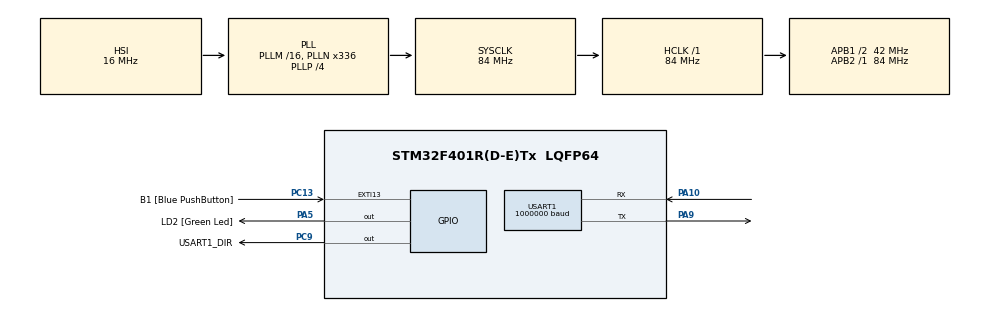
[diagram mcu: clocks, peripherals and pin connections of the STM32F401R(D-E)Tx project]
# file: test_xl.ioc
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Mcu.Family=STM32F4
Mcu.Name=STM32F401R(D-E)Tx
Mcu.Package=LQFP64
NVIC.PriorityGroup=NVIC_PRIORITYGROUP_0
NVIC.USART1_IRQn=true\:0\:0\:false\:false\:true\:true
PA10.Mode=Asynchronous
PA10.Signal=USART1_RX
PA13.GPIO_Label=TMS
PA13.Signal=SYS_JTMS-SWDIO
PA14.GPIO_Label=TCK
PA14.Signal=SYS_JTCK-SWCLK
PA2.GPIO_Label=USART_TX
PA2.GPIO_Mode=GPIO_MODE_AF_PP
PA2.GPIO_PuPd=GPIO_NOPULL
PA2.GPIO_Speed=GPIO_SPEED_FREQ_LOW
PA2.Signal=USART2_TX
PA3.GPIO_Label=USART_RX
PA3.GPIO_Mode=GPIO_MODE_AF_PP
PA3.GPIO_PuPd=GPIO_NOPULL
PA3.GPIO_Speed=GPIO_SPEED_FREQ_LOW
PA3.Signal=USART2_RX
PA5.GPIO_Label=LD2 [Green Led]
PA5.GPIO_Mode=GPIO_MODE_OUTPUT_PP
PA5.GPIO_PuPd=GPIO_NOPULL
PA5.GPIO_Speed=GPIO_SPEED_FREQ_LOW
PA5.Signal=GPIO_Output
PA9.Mode=Asynchronous
PA9.Signal=USART1_TX
PB3.GPIO_Label=SWO
PB3.Signal=SYS_JTDO-SWO
PC13-ANTI_TAMP.GPIO_Label=B1 [Blue PushButton]
PC13-ANTI_TAMP.GPIO_ModeDefaultEXTI=GPIO_MODE_IT_FALLING
PC13-ANTI_TAMP.GPIO_PuPd=GPIO_NOPULL
PC13-ANTI_TAMP.Signal=GPXTI13
PC14-OSC32_IN.Signal=RCC_OSC32_IN
PC15-OSC32_OUT.Signal=RCC_OSC32_OUT
PC9.GPIO_Label=USART1_DIR
PC9.Signal=GPIO_Output
PH0\ -\ OSC_IN.Signal=RCC_OSC_IN
PH1\ -\ OSC_OUT.Signal=RCC_OSC_OUT
ProjectManager.HeapSize=0x200
ProjectManager.StackSize=0x400
ProjectManager.TargetToolchain=Makefile
RCC.AHBFreq_Value=84000000
RCC.APB1CLKDivider=RCC_HCLK_DIV2
RCC.APB1Freq_Value=42000000
RCC.APB1TimFreq_Value=84000000
RCC.APB2Freq_Value=84000000
RCC.APB2TimFreq_Value=84000000
RCC.CortexFreq_Value=84000000
RCC.HCLKFreq_Value=84000000
RCC.HSE_VALUE=8000000
RCC.HSI_VALUE=16000000
RCC.LSE_VALUE=32768
RCC.PLLN=336
RCC.PLLP=RCC_PLLP_DIV4
RCC.PLLQ=7
RCC.SYSCLKFreq_VALUE=84000000
RCC.SYSCLKSource=RCC_SYSCLKSOURCE_PLLCLK
RCC.VCOOutputFreq_Value=336000000
USART1.BaudRate=1000000
USART1.Parity=PARITY_NONE
USART1.VirtualMode=VM_ASYNC
board=NUCLEO-F401RE

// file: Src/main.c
/**
  ******************************************************************************
  * File Name          : main.c
  * Description        : Main program body
  ******************************************************************************
  ** This notice applies to any and all portions of this file
  * that are not between comment pairs USER CODE BEGIN and
  * USER CODE END. Other portions of this file, whether
  * inserted by the user or by software development tools
  * are owned by their respective copyright owners.
  *
  * COPYRIGHT(c) 2018 STMicroelectronics
  *
  * Redistribution and use in source and binary forms, with or without modification,
  * are permitted provided that the following conditions are met:
  *   1. Redistributions of source code must retain the above copyright notice,
  *      this list of conditions and the following disclaimer.
  *   2. Redistributions in binary form must reproduce the above copyright notice,
  *      this list of conditions and the following disclaimer in the documentation
  *      and/or other materials provided with the distribution.
  *   3. Neither the name of STMicroelectronics nor the names of its contributors
  *      may be used to endorse or promote products derived from this software
  *      without specific prior written permission.
  *
  * THIS SOFTWARE IS PROVIDED BY THE COPYRIGHT HOLDERS AND CONTRIBUTORS "AS IS"
  * AND ANY EXPRESS OR IMPLIED WARRANTIES, INCLUDING, BUT NOT LIMITED TO, THE
  * IMPLIED WARRANTIES OF MERCHANTABILITY AND FITNESS FOR A PARTICULAR PURPOSE ARE
  * DISCLAIMED. IN NO EVENT SHALL THE COPYRIGHT HOLDER OR CONTRIBUTORS BE LIABLE
  * FOR ANY DIRECT, INDIRECT, INCIDENTAL, SPECIAL, EXEMPLARY, OR CONSEQUENTIAL
  * DAMAGES (INCLUDING, BUT NOT LIMITED TO, PROCUREMENT OF SUBSTITUTE GOODS OR
  * SERVICES; LOSS OF USE, DATA, OR PROFITS; OR BUSINESS INTERRUPTION) HOWEVER
  * CAUSED AND ON ANY THEORY OF LIABILITY, WHETHER IN CONTRACT, STRICT LIABILITY,
  * OR TORT (INCLUDING NEGLIGENCE OR OTHERWISE) ARISING IN ANY WAY OUT OF THE USE
  * OF THIS SOFTWARE, EVEN IF ADVISED OF THE POSSIBILITY OF SUCH DAMAGE.
  *
  ******************************************************************************
  */

#include "main.h"
#include "stm32f4xx_hal.h"

/* USER CODE BEGIN Includes */
#include "xl_320.h"
#include "mbed.h"
/* USER CODE END Includes */

UART_HandleTypeDef huart1;

/* USER CODE BEGIN PV */
/* Private variables ---------------------------------------------------------*/
#define CONFIG 0
/* USER CODE END PV */

void SystemClock_Config(void);
static void MX_GPIO_Init(void);
static void MX_USART1_UART_Init(void);

/* USER CODE BEGIN PFP */
/* Private function prototypes -----------------------------------------------*/

/* USER CODE END PFP */

/* USER CODE BEGIN 0 */
XL_Interface interface;

uint8_t XL_320_Send_HAL(uint8_t *data, uint16_t size, uint32_t timeout){
  HAL_StatusTypeDef status = HAL_UART_Transmit(&huart1, data, size, timeout);
  return (status==HAL_OK)?0:1;
}

void XL_320_Set_Direction_HAL(XL_Direction dir){
  HAL_GPIO_WritePin(USART1_DIR_GPIO_Port, USART1_DIR_Pin, (dir==XL_SEND)?GPIO_PIN_SET:GPIO_PIN_RESET);
}

uint8_t XL_320_Receive_HAL(uint8_t *buffer, uint16_t size, uint32_t timeout){
  HAL_StatusTypeDef status = HAL_UART_Receive(&huart1, buffer, size, timeout);
  return (status==HAL_OK)?0:1;
}

void XL_320_Delay_HAL(uint32_t t){
  HAL_Delay(t);
}
/* USER CODE END 0 */

int main(void)
{

  /* MCU Configuration----------------------------------------------------------*/

  /* Reset of all peripherals, Initializes the Flash interface and the Systick. */
  HAL_Init();

  /* Configure the system clock */
  SystemClock_Config();

  /* Initialize all configured peripherals */
  MX_GPIO_Init();
  MX_USART1_UART_Init();

  /* USER CODE BEGIN 2 */

  interface.send = XL_320_Send_HAL;
  interface.set_direction = XL_320_Set_Direction_HAL;
  interface.receive = XL_320_Receive_HAL;
  interface.delay = XL_320_Delay_HAL;

  HAL_Delay(1000);

  XL broadcast = (XL) {.interface = &interface, .id = XL_BROADCAST};

  XL servo;
  uint16_t nb_servos = 0;
  uint16_t positionGet;
  uint16_t positionSet = 0;

  XL_Discover(&interface, servo, 1, &nb_servos);
  #if CONFIG==1
    XL_Configure_ID(&servo[0],3);
  #endif
  XL_Say_Hello(&servo);

  HAL_Delay(1000);

  uint16_t data;
  XL_Power_On(&broadcast, XL_NOW);
  /* USER CODE END 2 */

  /* Infinite loop */
  /* USER CODE BEGIN WHILE */
  while (1)
  {&
  /* USER CODE BEGIN 3 */

  HAL_Delay(1000);
  XL_Set_Goal_Position(servo, positionSet, XL_NOW);
  XL_Get_Current_Position(servo, &positionGet);

  /* USER CODE END 3 */
  }
  /* USER CODE END WHILE */
}

/** System Clock Configuration
*/
void SystemClock_Config(void)
{

  RCC_OscInitTypeDef RCC_OscInitStruct;
  RCC_ClkInitTypeDef RCC_ClkInitStruct;

    /**Configure the main internal regulator output voltage
    */
  __HAL_RCC_PWR_CLK_ENABLE();

  __HAL_PWR_VOLTAGESCALING_CONFIG(PWR_REGULATOR_VOLTAGE_SCALE2);

    /**Initializes the CPU, AHB and APB busses clocks
    */
  RCC_OscInitStruct.OscillatorType = RCC_OSCILLATORTYPE_HSI;
  RCC_OscInitStruct.HSIState = RCC_HSI_ON;
  RCC_OscInitStruct.HSICalibrationValue = 16;
  RCC_OscInitStruct.PLL.PLLState = RCC_PLL_ON;
  RCC_OscInitStruct.PLL.PLLSource = RCC_PLLSOURCE_HSI;
  RCC_OscInitStruct.PLL.PLLM = 16;
  RCC_OscInitStruct.PLL.PLLN = 336;
  RCC_OscInitStruct.PLL.PLLP = RCC_PLLP_DIV4;
  RCC_OscInitStruct.PLL.PLLQ = 7;
  if (HAL_RCC_OscConfig(&RCC_OscInitStruct) != HAL_OK)
  {
    _Error_Handler(__FILE__, __LINE__);
  }

    /**Initializes the CPU, AHB and APB busses clocks
    */
  RCC_ClkInitStruct.ClockType = RCC_CLOCKTYPE_HCLK|RCC_CLOCKTYPE_SYSCLK
                              |RCC_CLOCKTYPE_PCLK1|RCC_CLOCKTYPE_PCLK2;
  RCC_ClkInitStruct.SYSCLKSource = RCC_SYSCLKSOURCE_PLLCLK;
  RCC_ClkInitStruct.AHBCLKDivider = RCC_SYSCLK_DIV1;
  RCC_ClkInitStruct.APB1CLKDivider = RCC_HCLK_DIV2;
  RCC_ClkInitStruct.APB2CLKDivider = RCC_HCLK_DIV1;

  if (HAL_RCC_ClockConfig(&RCC_ClkInitStruct, FLASH_LATENCY_2) != HAL_OK)
  {
    _Error_Handler(__FILE__, __LINE__);
  }

    /**Configure the Systick interrupt time
    */
  HAL_SYSTICK_Config(HAL_RCC_GetHCLKFreq()/1000);

    /**Configure the Systick
    */
  HAL_SYSTICK_CLKSourceConfig(SYSTICK_CLKSOURCE_HCLK);

  /* SysTick_IRQn interrupt configuration */
  HAL_NVIC_SetPriority(SysTick_IRQn, 0, 0);
}

/* USART1 init function */
static void MX_USART1_UART_Init(void)
{

  huart1.Instance = USART1;
  huart1.Init.BaudRate = 1000000;
  huart1.Init.WordLength = UART_WORDLENGTH_8B;
  huart1.Init.StopBits = UART_STOPBITS_1;
  huart1.Init.Parity = UART_PARITY_NONE;
  huart1.Init.Mode = UART_MODE_TX_RX;
  huart1.Init.HwFlowCtl = UART_HWCONTROL_NONE;
  huart1.Init.OverSampling = UART_OVERSAMPLING_16;
  if (HAL_UART_Init(&huart1) != HAL_OK)
  {
    _Error_Handler(__FILE__, __LINE__);
  }

}

/** Configure pins as
        * Analog
        * Input
        * Output
        * EVENT_OUT
        * EXTI
        * Free pins are configured automatically as Analog (this feature is enabled through
        * the Code Generation settings)
     PA2   ------> USART2_TX
     PA3   ------> USART2_RX
*/
static void MX_GPIO_Init(void)
{

  GPIO_InitTypeDef GPIO_InitStruct;

  /* GPIO Ports Clock Enable */
  __HAL_RCC_GPIOC_CLK_ENABLE();
  __HAL_RCC_GPIOH_CLK_ENABLE();
  __HAL_RCC_GPIOA_CLK_ENABLE();
  __HAL_RCC_GPIOB_CLK_ENABLE();
  __HAL_RCC_GPIOD_CLK_ENABLE();

  /*Configure GPIO pin Output Level */
  HAL_GPIO_WritePin(LD2_GPIO_Port, LD2_Pin, GPIO_PIN_RESET);

  /*Configure GPIO pin Output Level */
  HAL_GPIO_WritePin(USART1_DIR_GPIO_Port, USART1_DIR_Pin, GPIO_PIN_RESET);

  /*Configure GPIO pin : B1_Pin */
  GPIO_InitStruct.Pin = B1_Pin;
  GPIO_InitStruct.Mode = GPIO_MODE_IT_FALLING;
  GPIO_InitStruct.Pull = GPIO_NOPULL;
  HAL_GPIO_Init(B1_GPIO_Port, &GPIO_InitStruct);

  /*Configure GPIO pins : PC0 PC1 PC2 PC3
                           PC4 PC5 PC6 PC7
                           PC8 PC10 PC11 PC12 */
  GPIO_InitStruct.Pin = GPIO_PIN_0|GPIO_PIN_1|GPIO_PIN_2|GPIO_PIN_3
                          |GPIO_PIN_4|GPIO_PIN_5|GPIO_PIN_6|GPIO_PIN_7
                          |GPIO_PIN_8|GPIO_PIN_10|GPIO_PIN_11|GPIO_PIN_12;
  GPIO_InitStruct.Mode = GPIO_MODE_ANALOG;
  GPIO_InitStruct.Pull = GPIO_NOPULL;
  HAL_GPIO_Init(GPIOC, &GPIO_InitStruct);

  /*Configure GPIO pins : PA0 PA1 PA4 PA6
                           PA7 PA8 PA11 PA12
                           PA15 */
  GPIO_InitStruct.Pin = GPIO_PIN_0|GPIO_PIN_1|GPIO_PIN_4|GPIO_PIN_6
                          |GPIO_PIN_7|GPIO_PIN_8|GPIO_PIN_11|GPIO_PIN_12
                          |GPIO_PIN_15;
  GPIO_InitStruct.Mode = GPIO_MODE_ANALOG;
  GPIO_InitStruct.Pull = GPIO_NOPULL;
  HAL_GPIO_Init(GPIOA, &GPIO_InitStruct);

  /*Configure GPIO pins : USART_TX_Pin USART_RX_Pin */
  GPIO_InitStruct.Pin = USART_TX_Pin|USART_RX_Pin;
  GPIO_InitStruct.Mode = GPIO_MODE_AF_PP;
  GPIO_InitStruct.Pull = GPIO_NOPULL;
  GPIO_InitStruct.Speed = GPIO_SPEED_FREQ_LOW;
  GPIO_InitStruct.Alternate = GPIO_AF7_USART2;
  HAL_GPIO_Init(GPIOA, &GPIO_InitStruct);

  /*Configure GPIO pin : LD2_Pin */
  GPIO_InitStruct.Pin = LD2_Pin;
  GPIO_InitStruct.Mode = GPIO_MODE_OUTPUT_PP;
  GPIO_InitStruct.Pull = GPIO_NOPULL;
  GPIO_InitStruct.Speed = GPIO_SPEED_FREQ_LOW;
  HAL_GPIO_Init(LD2_GPIO_Port, &GPIO_InitStruct);

  /*Configure GPIO pins : PB0 PB1 PB2 PB10
                           PB12 PB13 PB14 PB15
                           PB4 PB5 PB6 PB7
                           PB8 PB9 */
  GPIO_InitStruct.Pin = GPIO_PIN_0|GPIO_PIN_1|GPIO_PIN_2|GPIO_PIN_10
                          |GPIO_PIN_12|GPIO_PIN_13|GPIO_PIN_14|GPIO_PIN_15
                          |GPIO_PIN_4|GPIO_PIN_5|GPIO_PIN_6|GPIO_PIN_7
                          |GPIO_PIN_8|GPIO_PIN_9;
  GPIO_InitStruct.Mode = GPIO_MODE_ANALOG;
  GPIO_InitStruct.Pull = GPIO_NOPULL;
  HAL_GPIO_Init(GPIOB, &GPIO_InitStruct);

  /*Configure GPIO pin : USART1_DIR_Pin */
  GPIO_InitStruct.Pin = USART1_DIR_Pin;
  GPIO_InitStruct.Mode = GPIO_MODE_OUTPUT_PP;
  GPIO_InitStruct.Pull = GPIO_NOPULL;
  GPIO_InitStruct.Speed = GPIO_SPEED_FREQ_LOW;
  HAL_GPIO_Init(USART1_DIR_GPIO_Port, &GPIO_InitStruct);

  /*Configure GPIO pin : PD2 */
  GPIO_InitStruct.Pin = GPIO_PIN_2;
  GPIO_InitStruct.Mode = GPIO_MODE_ANALOG;
  GPIO_InitStruct.Pull = GPIO_NOPULL;
  HAL_GPIO_Init(GPIOD, &GPIO_InitStruct);

}

void _Error_Handler(char * file, int line)
{
  while(1)
  {
  }
}

/************************ (C) COPYRIGHT STMicroelectronics *****END OF FILE****/
